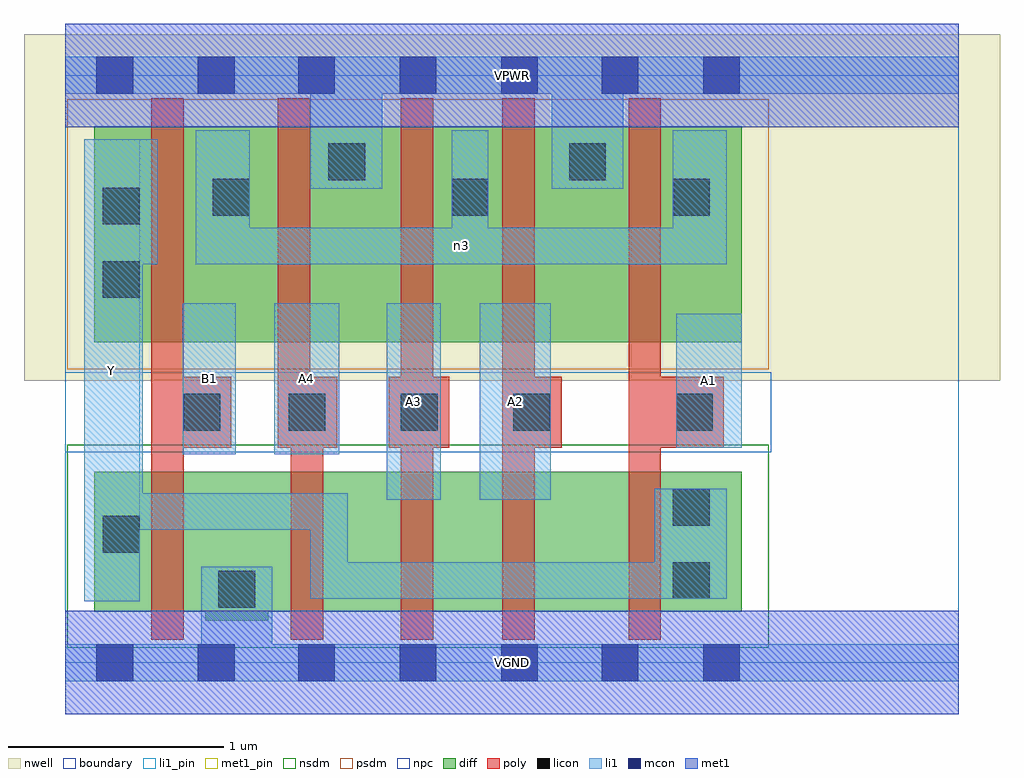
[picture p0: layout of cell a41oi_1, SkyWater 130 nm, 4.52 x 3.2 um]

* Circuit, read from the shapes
.subckt a41oi_1 A1 A2 A3 A4 B1 VGND VPWR Y n3
XM1 VGND B1 Y VSUBS sky130_fd_pr__nfet_01v8 w=0.65 l=0.15
XM2 n1 A4 VGND VSUBS sky130_fd_pr__nfet_01v8 w=0.65 l=0.15
XM3 n2 A3 n1 VSUBS sky130_fd_pr__nfet_01v8 w=0.65 l=0.15
XM4 n4 A2 n2 VSUBS sky130_fd_pr__nfet_01v8 w=0.65 l=0.15
XM5 Y A1 n4 VSUBS sky130_fd_pr__nfet_01v8 w=0.65 l=0.15
XM6 n3 B1 Y n5 sky130_fd_pr__pfet_01v8 w=1 l=0.15
XM7 VPWR A4 n3 n5 sky130_fd_pr__pfet_01v8 w=1 l=0.15
XM8 n3 A3 VPWR n5 sky130_fd_pr__pfet_01v8 w=1 l=0.15
XM9 VPWR A2 n3 n5 sky130_fd_pr__pfet_01v8 w=1 l=0.15
XM10 n3 A1 VPWR n5 sky130_fd_pr__pfet_01v8 w=1 l=0.15
.ends

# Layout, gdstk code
import gdstk
lib = gdstk.Library(unit=1e-6, precision=1e-09)
def R(c, l, rs):  # rectangles x0, y0, x1, y1
    for r in rs: c.add(gdstk.rectangle(r[:2], r[2:], *l))
def A(c, l, x, y, w, h, nx, ny, dx, dy):  # array of equal rectangles
    R(c, l, [(x+i*dx, y+j*dy, x+i*dx+w, y+j*dy+h) for i in range(nx) for j in range(ny)])
nwell = (64, 20)
diff = (65, 20)
poly = (66, 20)
licon = (66, 44)
li1_pin = (67, 16)
li1 = (67, 20)
mcon = (67, 44)
met1_pin = (68, 16)
met1 = (68, 20)
nsdm = (93, 44)
psdm = (94, 20)
npc = (95, 20)
boundary = (235, 4)

a41oi_1 = lib.new_cell('a41oi_1')
R(a41oi_1, nwell, [(-0.19,1.305,4.33,2.91), (0,1.305,4.14,2.91)])
R(a41oi_1, diff, [(0.65,0.195,0.94,0.885), (0.135,0.235,3.135,0.885), (0.135,1.485,3.135,2.485)])
R(a41oi_1, poly, [(0.4,0.105,0.55,2.615), (1.045,0.105,1.195,1.325), (1.555,0.105,1.705,2.615), (2.025,0.105,2.175,2.615), (2.61,0.105,2.76,2.615), (0.4,0.995,0.77,1.325), (0.985,0.995,1.135,2.615), (0.985,0.995,1.26,1.325), (1.5,0.995,1.78,1.325), (2.025,0.995,2.3,1.325), (2.61,0.995,3.05,1.325)])
A(a41oi_1, licon, 1.035, 1.075, 0.17, 0.17, 3, 1, 0.52, 0)
R(a41oi_1, licon, [(0.71,0.255,0.88,0.425), (2.815,0.295,2.985,0.465), (0.175,0.51,0.345,0.68), (2.815,0.635,2.985,0.805), (0.55,1.075,0.72,1.245), (2.83,1.075,3,1.245), (0.175,1.69,0.345,1.86), (0.175,2.03,0.345,2.2), (0.685,2.07,0.855,2.24), (1.79,2.07,1.96,2.24), (2.815,2.07,2.985,2.24), (1.22,2.235,1.39,2.405), (2.335,2.235,2.505,2.405)])
R(a41oi_1, li1_pin, [(0.09,0.285,0.345,2.425), (1.49,0.755,1.74,1.665), (1.92,0.755,2.25,1.665), (0.545,0.965,0.79,1.665), (0.97,0.965,1.27,1.665), (2.83,0.995,3.135,1.615)])
R(a41oi_1, li1, [(0,-0.085,4.14,0.085), (0.63,-0.085,0.96,0.445), (0.09,0.285,0.345,2.425), (1.135,0.295,3.065,0.465), (1.135,0.295,1.31,0.785), (2.73,0.295,3.065,0.805), (0.09,0.615,1.31,0.785), (0.09,0.615,0.36,2.425), (1.49,0.755,1.74,1.665), (1.92,0.755,2.25,1.665), (0.545,0.965,0.79,1.665), (0.97,0.965,1.27,1.665), (2.83,0.995,3.135,1.615), (0.09,1.845,0.43,2.425), (0.605,1.845,3.065,2.015), (0.605,1.845,0.855,2.465), (1.79,1.845,1.96,2.465), (2.815,1.845,3.065,2.465), (1.135,2.195,1.47,2.805), (2.255,2.195,2.585,2.805), (0,2.635,4.14,2.805)])
A(a41oi_1, mcon, 1.08, -0.085, 0.17, 0.17, 3, 2, 0.47, 2.72)
R(a41oi_1, mcon, [(0.145,-0.085,0.315,0.085), (0.615,-0.085,0.785,0.085), (2.485,-0.085,2.655,0.085), (2.955,-0.085,3.125,0.085), (0.145,2.635,0.315,2.805), (0.615,2.635,0.785,2.805), (2.485,2.635,2.655,2.805), (2.955,2.635,3.125,2.805)])
R(a41oi_1, met1_pin, [(0,-0.24,4.14,0.24), (0,2.48,4.14,2.96)])
R(a41oi_1, met1, [(0,-0.24,4.14,0.24), (0,2.48,4.14,2.96)])
R(a41oi_1, nsdm, [(0.01,0.07,3.26,1.01)])
R(a41oi_1, psdm, [(0.01,1.36,3.26,2.61)])
R(a41oi_1, npc, [(0,0.975,3.27,1.345)])
R(a41oi_1, boundary, [(0,0,4.14,2.72)])
a41oi_1.add(gdstk.Label('A1', (2.982,1.305), layer=67, texttype=5))
a41oi_1.add(gdstk.Label('A2', (2.085,1.21), layer=67, texttype=5))
a41oi_1.add(gdstk.Label('A3', (1.615,1.21), layer=67, texttype=5))
a41oi_1.add(gdstk.Label('A4', (1.12,1.315), layer=67, texttype=5))
a41oi_1.add(gdstk.Label('B1', (0.667,1.315), layer=67, texttype=5))
a41oi_1.add(gdstk.Label('Y', (0.217,1.355), layer=67, texttype=5))
a41oi_1.add(gdstk.Label('n3', (1.835,1.93), layer=67, texttype=5))
a41oi_1.add(gdstk.Label('VPWR', (2.07,2.72), layer=68, texttype=5))
a41oi_1.add(gdstk.Label('VGND', (2.07,0), layer=68, texttype=5))
a41oi_1.add(gdstk.Label('A1', (2.982,1.305), layer=67, texttype=16))
a41oi_1.add(gdstk.Label('A2', (2.085,1.21), layer=67, texttype=16))
a41oi_1.add(gdstk.Label('A3', (1.615,1.21), layer=67, texttype=16))
a41oi_1.add(gdstk.Label('A4', (1.12,1.315), layer=67, texttype=16))
a41oi_1.add(gdstk.Label('B1', (0.667,1.315), layer=67, texttype=16))
a41oi_1.add(gdstk.Label('Y', (0.217,1.355), layer=67, texttype=16))
a41oi_1.add(gdstk.Label('VPWR', (2.07,2.72), layer=68, texttype=16))
a41oi_1.add(gdstk.Label('VGND', (2.07,0), layer=68, texttype=16))

lib.write_gds('a41oi_1.gds')
